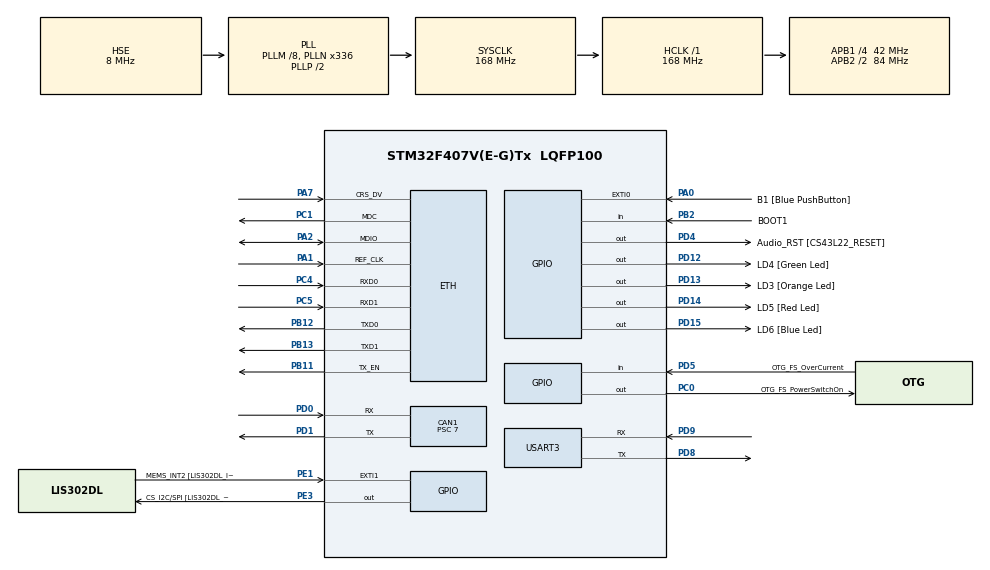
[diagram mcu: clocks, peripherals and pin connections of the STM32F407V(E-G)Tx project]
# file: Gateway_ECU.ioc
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CAN1.BS1=CAN_BS1_9TQ
CAN1.BS2=CAN_BS2_2TQ
CAN1.CalculateBaudRate=499999
CAN1.CalculateTimeBit=2000
CAN1.CalculateTimeQuantum=166.66666666666669
CAN1.Prescaler=7
ETH.MediaInterface=HAL_ETH_RMII_MODE
FREERTOS.Queues01=CAN_Data_Queue,10,uint16_t,0,Dynamic,NULL,NULL;Eth_Data_Queue,10,uint16_t,0,Dynamic,NULL,NULL
FREERTOS.Tasks01=Logic_Task,24,512,StartLogicTask,Default,NULL,Dynamic,NULL,NULL;Eth_Task,16,512,StartEthTask,Default,NULL,Dynamic,NULL,NULL
FREERTOS.configUSE_NEWLIB_REENTRANT=0
LWIP.BSP.number=1
LWIP.GATEWAY_ADDRESS=192.168.001.001
LWIP.IP_ADDRESS=192.168.001.050
LWIP.LWIP_DHCP=0
LWIP.MEMP_NUM_PBUF=20
LWIP.MEM_SIZE=10240
LWIP.NETMASK_ADDRESS=255.255.255.000
LWIP.Version=v2.1.2_Cube
LWIP0.BSP.STBoard=false
LWIP0.BSP.api=BSP_COMPONENT_DRIVER
LWIP0.BSP.component=LAN8742
LWIP0.BSP.instance=LAN8742
LWIP0.BSP.name=Driver_PHY
LWIP0.BSP.semaphore=S_LAN8742
LWIP0.BSP.solution=LAN8742
Mcu.Family=STM32F4
Mcu.Name=STM32F407V(E-G)Tx
Mcu.Package=LQFP100
NVIC.CAN1_RX0_IRQn=true\:5\:0\:false\:false\:true\:true\:true\:true\:true
NVIC.ETH_IRQn=true\:5\:0\:false\:false\:true\:true\:true\:true\:true
NVIC.PriorityGroup=NVIC_PRIORITYGROUP_4
NVIC.TIM5_IRQn=true\:15\:0\:false\:false\:true\:false\:false\:true\:true
NVIC.TimeBase=TIM5_IRQn
NVIC.TimeBaseIP=TIM5
PA0-WKUP.GPIO_Label=B1 [Blue PushButton]
PA0-WKUP.GPIO_ModeDefaultEXTI=GPIO_MODE_EVT_RISING
PA0-WKUP.GPIO_PuPd=GPIO_NOPULL
PA0-WKUP.Signal=GPXTI0
PA1.Mode=RMII
PA1.Signal=ETH_REF_CLK
PA13.GPIO_Label=SWDIO
PA13.Mode=Serial_Wire
PA13.Signal=SYS_JTMS-SWDIO
PA14.GPIO_Label=SWCLK
PA14.Mode=Serial_Wire
PA14.Signal=SYS_JTCK-SWCLK
PA2.Mode=RMII
PA2.Signal=ETH_MDIO
PA7.Mode=RMII
PA7.Signal=ETH_CRS_DV
PB11.Mode=RMII
PB11.Signal=ETH_TX_EN
PB12.Mode=RMII
PB12.Signal=ETH_TXD0
PB13.Mode=RMII
PB13.Signal=ETH_TXD1
PB2.GPIO_Label=BOOT1
PB2.GPIO_Mode=GPIO_MODE_INPUT
PB2.GPIO_PuPd=GPIO_NOPULL
PB2.Signal=GPIO_Input
PC0.GPIO_Label=OTG_FS_PowerSwitchOn
PC0.GPIO_PuPd=GPIO_NOPULL
PC0.GPIO_Speed=GPIO_SPEED_FREQ_LOW
PC0.PinState=GPIO_PIN_SET
PC0.Signal=GPIO_Output
PC1.Mode=RMII
PC1.Signal=ETH_MDC
PC14-OSC32_IN.GPIO_Label=PC14-OSC32_IN
PC14-OSC32_IN.Mode=LSE-External-Oscillator
PC14-OSC32_IN.Signal=RCC_OSC32_IN
PC15-OSC32_OUT.GPIO_Label=PC15-OSC32_OUT
PC15-OSC32_OUT.Mode=LSE-External-Oscillator
PC15-OSC32_OUT.Signal=RCC_OSC32_OUT
PC4.Mode=RMII
PC4.Signal=ETH_RXD0
PC5.Mode=RMII
PC5.Signal=ETH_RXD1
PD0.Mode=CAN_Activate
PD0.Signal=CAN1_RX
PD1.Mode=CAN_Activate
PD1.Signal=CAN1_TX
PD12.GPIO_Label=LD4 [Green Led]
PD12.GPIO_PuPd=GPIO_NOPULL
PD12.GPIO_Speed=GPIO_SPEED_FREQ_LOW
PD12.Signal=GPIO_Output
PD13.GPIO_Label=LD3 [Orange Led]
PD13.GPIO_PuPd=GPIO_NOPULL
PD13.GPIO_Speed=GPIO_SPEED_FREQ_LOW
PD13.Signal=GPIO_Output
PD14.GPIO_Label=LD5 [Red Led]
PD14.GPIO_PuPd=GPIO_NOPULL
PD14.GPIO_Speed=GPIO_SPEED_FREQ_LOW
PD14.Signal=GPIO_Output
PD15.GPIO_Label=LD6 [Blue Led]
PD15.GPIO_PuPd=GPIO_NOPULL
PD15.GPIO_Speed=GPIO_SPEED_FREQ_LOW
PD15.Signal=GPIO_Output
PD4.GPIO_Label=Audio_RST [CS43L22_RESET]
PD4.GPIO_PuPd=GPIO_NOPULL
PD4.GPIO_Speed=GPIO_SPEED_FREQ_LOW
PD4.Signal=GPIO_Output
PD5.GPIO_Label=OTG_FS_OverCurrent
PD5.GPIO_Mode=GPIO_MODE_INPUT
PD5.GPIO_PuPd=GPIO_NOPULL
PD5.Signal=GPIO_Input
PD8.Mode=Asynchronous
PD8.Signal=USART3_TX
PD9.Mode=Asynchronous
PD9.Signal=USART3_RX
PE1.GPIO_Label=MEMS_INT2 [LIS302DL_INT2]
PE1.GPIO_ModeDefaultEXTI=GPIO_MODE_EVT_RISING
PE1.GPIO_PuPd=GPIO_NOPULL
PE1.Signal=GPXTI1
PE3.GPIO_Label=CS_I2C/SPI [LIS302DL_CS_I2C/SPI]
PE3.GPIO_PuPd=GPIO_NOPULL
PE3.GPIO_Speed=GPIO_SPEED_FREQ_LOW
PE3.Signal=GPIO_Output
PH0-OSC_IN.GPIO_Label=PH0-OSC_IN
PH0-OSC_IN.Mode=HSE-External-Oscillator
PH0-OSC_IN.Signal=RCC_OSC_IN
PH1-OSC_OUT.GPIO_Label=PH1-OSC_OUT
PH1-OSC_OUT.Mode=HSE-External-Oscillator
PH1-OSC_OUT.Signal=RCC_OSC_OUT
ProjectManager.HeapSize=0x200
ProjectManager.StackSize=0x400
ProjectManager.TargetToolchain=MDK-ARM V5.32
RCC.48MHZClocksFreq_Value=48000000
RCC.AHBFreq_Value=168000000
RCC.APB1CLKDivider=RCC_HCLK_DIV4
RCC.APB1Freq_Value=42000000
RCC.APB1TimFreq_Value=84000000
RCC.APB2CLKDivider=RCC_HCLK_DIV2
RCC.APB2Freq_Value=84000000
RCC.APB2TimFreq_Value=168000000
RCC.CortexFreq_Value=168000000
RCC.HCLKFreq_Value=168000000
RCC.HSE_VALUE=8000000
RCC.HSI_VALUE=16000000
RCC.PLLM=8
RCC.PLLN=336
RCC.PLLQ=7
RCC.PLLSourceVirtual=RCC_PLLSOURCE_HSE
RCC.SYSCLKFreq_VALUE=168000000
RCC.SYSCLKSource=RCC_SYSCLKSOURCE_PLLCLK
RCC.VCOOutputFreq_Value=336000000
USART3.VirtualMode=VM_ASYNC
VP_FREERTOS_VS_CMSIS_V2.Mode=CMSIS_V2
VP_LWIP_VS_Enabled.Mode=Enabled
VP_SYS_VS_tim5.Mode=TIM5
board=STM32F407G-DISC1

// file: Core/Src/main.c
/* USER CODE BEGIN Header */
/**
  ******************************************************************************
  * @file           : main.c
  * @brief          : Main program body
  ******************************************************************************
  * @attention
  *
  * Copyright (c) 2026 STMicroelectronics.
  * All rights reserved.
  *
  * This software is licensed under terms that can be found in the LICENSE file
  * in the root directory of this software component.
  * If no LICENSE file comes with this software, it is provided AS-IS.
  *
  ******************************************************************************
  */
/* USER CODE END Header */
#include "main.h"
#include "cmsis_os.h"
#include "can.h"
#include "lwip.h"
#include "usart.h"
#include "gpio.h"

/* USER CODE BEGIN Includes */
#include <stdio.h>     /* Required for printf and sprintf */
#include <app_gateway.h>  /* Required for gateway routing functions */
/* USER CODE END Includes */

/* USER CODE BEGIN PD */
#define EVT_UDS_RX_BIT   0x00000001U

/* USER CODE END PD */

/* USER CODE BEGIN PM */
#ifdef __GNUC__
#define PUTCHAR_PROTOTYPE int __io_putchar(int ch)
#else
#define PUTCHAR_PROTOTYPE int fputc(int ch, FILE *f)
#endif /* __GNUC__ */
/* USER CODE END PM */

/* USER CODE BEGIN PV */
/* CAN Communication Buffers */
CAN_TxHeaderTypeDef TxHeader;               /**< CAN Tx header structure (To Node B) */
uint8_t             TxData[8];              /**< CAN Tx payload data array */
uint32_t            TxMailbox;              /**< CAN Tx mailbox identifier */

CAN_RxHeaderTypeDef RxHeader;               /**< CAN Rx header structure (From Node A & B) */
uint8_t             RxData[8];              /**< CAN Rx payload data array */

/* UDS Diagnostic Protocol Variables */
uint8_t             gateway_uds_level = 0;  /**< Extracted UDS response payload */

/* Timestamps for latency measurement */
volatile uint32_t   can_sensor_start_time = 0;
volatile uint32_t   can_uds_start_time = 0;

/* External Variables */
extern osMessageQueueId_t CAN_Data_QueueHandle;
extern osEventFlagsId_t   UdsEventFlagsHandle;

/* USER CODE END PV */

void SystemClock_Config(void);
void MX_FREERTOS_Init(void);

/* USER CODE BEGIN PFP */
/**
 * @brief  Retargets the C library printf function to the USART.
 * @param[in] ch Character to be transmitted
 * @return Transmitted character
 */
PUTCHAR_PROTOTYPE;

/* USER CODE END PFP */

int main(void)
{

  /* MCU Configuration--------------------------------------------------------*/

  /* Reset of all peripherals, Initializes the Flash interface and the Systick. */
  HAL_Init();

  /* Configure the system clock */
  SystemClock_Config();

  /* Initialize all configured peripherals */
  MX_GPIO_Init();
  MX_CAN1_Init();
  MX_USART3_UART_Init();
/* USER CODE BEGIN 2 */

  CAN_FilterTypeDef canfilterconfig;

  canfilterconfig.FilterBank = 0;
  canfilterconfig.FilterMode = CAN_FILTERMODE_IDLIST;
  canfilterconfig.FilterScale = CAN_FILTERSCALE_16BIT;

  /* Accept Node A (0x250) and Node B UDS Response (0x7E8) */
  canfilterconfig.FilterIdHigh = 0x250 << 5;
  canfilterconfig.FilterIdLow = 0x7E8 << 5;

  /* Duplicate IDs to safely fill all 16-bit register slots */
  canfilterconfig.FilterMaskIdHigh = 0x250 << 5;
  canfilterconfig.FilterMaskIdLow = 0x7E8 << 5;

  canfilterconfig.FilterFIFOAssignment = CAN_RX_FIFO0;
  canfilterconfig.FilterActivation = ENABLE;
  canfilterconfig.SlaveStartFilterBank = 14;

  if (HAL_CAN_ConfigFilter(&hcan1, &canfilterconfig) != HAL_OK)
  {
    Error_Handler();
  }

  if (HAL_CAN_Start(&hcan1) != HAL_OK)
  {
    Error_Handler();
  }

  if (HAL_CAN_ActivateNotification(&hcan1, CAN_IT_RX_FIFO0_MSG_PENDING) != HAL_OK)
  {
    Error_Handler();
  }

  /* Prepare default CAN TX Header */
  TxHeader.StdId = 0x450;
  TxHeader.RTR = CAN_RTR_DATA;
  TxHeader.IDE = CAN_ID_STD;
  TxHeader.DLC = 1;
  TxHeader.TransmitGlobalTime = DISABLE;

  /* USER CODE END 2 */

  /* Init scheduler */
  osKernelInitialize();  /* Call init function for freertos objects (in cmsis_os2.c) */
  MX_FREERTOS_Init();

  /* Start scheduler */
  osKernelStart();

  /* We should never get here as control is now taken by the scheduler */

  /* Infinite loop */
  while (1)
  {

  }
}

void SystemClock_Config(void)
{
  RCC_OscInitTypeDef RCC_OscInitStruct = {0};
  RCC_ClkInitTypeDef RCC_ClkInitStruct = {0};

  /** Configure the main internal regulator output voltage
  */
  __HAL_RCC_PWR_CLK_ENABLE();
  __HAL_PWR_VOLTAGESCALING_CONFIG(PWR_REGULATOR_VOLTAGE_SCALE1);

  /** Initializes the RCC Oscillators according to the specified parameters
  * in the RCC_OscInitTypeDef structure.
  */
  RCC_OscInitStruct.OscillatorType = RCC_OSCILLATORTYPE_HSE;
  RCC_OscInitStruct.HSEState = RCC_HSE_ON;
  RCC_OscInitStruct.PLL.PLLState = RCC_PLL_ON;
  RCC_OscInitStruct.PLL.PLLSource = RCC_PLLSOURCE_HSE;
  RCC_OscInitStruct.PLL.PLLM = 8;
  RCC_OscInitStruct.PLL.PLLN = 336;
  RCC_OscInitStruct.PLL.PLLP = RCC_PLLP_DIV2;
  RCC_OscInitStruct.PLL.PLLQ = 7;
  if (HAL_RCC_OscConfig(&RCC_OscInitStruct) != HAL_OK)
  {
    Error_Handler();
  }

  /** Initializes the CPU, AHB and APB buses clocks
  */
  RCC_ClkInitStruct.ClockType = RCC_CLOCKTYPE_HCLK|RCC_CLOCKTYPE_SYSCLK
                              |RCC_CLOCKTYPE_PCLK1|RCC_CLOCKTYPE_PCLK2;
  RCC_ClkInitStruct.SYSCLKSource = RCC_SYSCLKSOURCE_PLLCLK;
  RCC_ClkInitStruct.AHBCLKDivider = RCC_SYSCLK_DIV1;
  RCC_ClkInitStruct.APB1CLKDivider = RCC_HCLK_DIV4;
  RCC_ClkInitStruct.APB2CLKDivider = RCC_HCLK_DIV2;

  if (HAL_RCC_ClockConfig(&RCC_ClkInitStruct, FLASH_LATENCY_5) != HAL_OK)
  {
    Error_Handler();
  }
}

/* USER CODE BEGIN 4 */

/**
 * @brief  Retargets the C library printf function to the USART.
 *
 * @param[in]  ch  Character to be transmitted
 *
 * @return
 * - Transmitted character
 */
PUTCHAR_PROTOTYPE
{
  /* Timeout lowered to 10ms to prevent system hang */
  HAL_UART_Transmit(&huart3, (uint8_t *)&ch, 1, 10);
  return ch;
}

/**
 * @brief  CAN RX Callback - Triggered when a new message arrives in FIFO0.
 *
 * @param[in]  hcan  Pointer to a CAN_HandleTypeDef structure that contains
 * the configuration information for the specified CAN.
 *
 * @return None
 */
void HAL_CAN_RxFifo0MsgPendingCallback(CAN_HandleTypeDef *hcan)
{
  if (HAL_CAN_GetRxMessage(hcan, CAN_RX_FIFO0, &RxHeader, RxData) == HAL_OK)
  {
    /* Branch 1: Sensor Data from Node A */
    if (RxHeader.StdId == CAN_ID_NODE_A_RX)
    {
      /* Capture timestamp for latency measurement */
      can_sensor_start_time = DWT_GET();

      /* Extract distance value from CAN payload (2 bytes) */
      uint16_t dist_val = (uint16_t)((RxData[0] << 8) | RxData[1]);

      /* Push raw distance into the queue. Timeout is 0 because this is inside ISR */
      osMessageQueuePut(CAN_Data_QueueHandle, &dist_val, 0, 0);
    }
    /* Branch 2: UDS Response from Node B */
    else if (RxHeader.StdId == CAN_ID_NODE_B_UDS_RX)
    {
      /* Capture timestamp for latency measurement */
      can_uds_start_time = DWT_GET();

      /* Extract UDS response level from CAN payload (1 byte) */
      osEventFlagsSet(UdsEventFlagsHandle, EVT_UDS_RX_BIT);
      gateway_uds_level = RxData[1];
    }
  }
}

/* USER CODE END 4 */

void HAL_TIM_PeriodElapsedCallback(TIM_HandleTypeDef *htim)
{
  if (htim->Instance == TIM5)
  {
    HAL_IncTick();
  }
}

void Error_Handler(void)
{
  __disable_irq();
  while (1)
  {
  }
}

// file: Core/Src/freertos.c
/* USER CODE BEGIN Header */
/**
  ******************************************************************************
  * File Name          : freertos.c
  * Description        : Code for freertos applications
  ******************************************************************************
  * @attention
  *
  * Copyright (c) 2026 STMicroelectronics.
  * All rights reserved.
  *
  * This software is licensed under terms that can be found in the LICENSE file
  * in the root directory of this software component.
  * If no LICENSE file comes with this software, it is provided AS-IS.
  *
  ******************************************************************************
  */
/* USER CODE END Header */

#include "FreeRTOS.h"
#include "task.h"
#include "main.h"
#include "cmsis_os.h"

/* USER CODE BEGIN Includes */
#include <stdio.h>        /* Required for printf */
#include <string.h>       /* Required for strlen */
#include "can.h"          /* Required for CAN handles and structures */
#include "lwip.h"         /* Required for LwIP definitions */
#include "app_gateway.h"  /* Required for gateway routing functions */

/* USER CODE END Includes */

/* USER CODE BEGIN PD */
#define EVT_UDS_RX_BIT   0x00000001U

/* USER CODE END PD */

/* USER CODE BEGIN Variables */
/* Definitions for UDS Event Flag */
osEventFlagsId_t UdsEventFlagsHandle;
const osEventFlagsAttr_t UdsEventFlags_attributes = {
  .name = "UdsEventFlags"
};

/* USER CODE END Variables */
/* Definitions for Logic_Task */
osThreadId_t Logic_TaskHandle;
const osThreadAttr_t Logic_Task_attributes = {
  .name = "Logic_Task",
  .stack_size = 512 * 4,
  .priority = (osPriority_t) osPriorityNormal,
};
/* Definitions for Eth_Task */
osThreadId_t Eth_TaskHandle;
const osThreadAttr_t Eth_Task_attributes = {
  .name = "Eth_Task",
  .stack_size = 512 * 4,
  .priority = (osPriority_t) osPriorityBelowNormal,
};
/* Definitions for CAN_Data_Queue */
osMessageQueueId_t CAN_Data_QueueHandle;
const osMessageQueueAttr_t CAN_Data_Queue_attributes = {
  .name = "CAN_Data_Queue"
};
/* Definitions for Eth_Data_Queue */
osMessageQueueId_t Eth_Data_QueueHandle;
const osMessageQueueAttr_t Eth_Data_Queue_attributes = {
  .name = "Eth_Data_Queue"
};

void StartLogicTask(void *argument);
void StartEthTask(void *argument);

extern void MX_LWIP_Init(void);
void MX_FREERTOS_Init(void); /* (MISRA C 2004 rule 8.1) */

void MX_FREERTOS_Init(void) {

  /* Create the queue(s) */
  /* creation of CAN_Data_Queue */
  CAN_Data_QueueHandle = osMessageQueueNew (10, sizeof(uint16_t), &CAN_Data_Queue_attributes);

  /* creation of Eth_Data_Queue */
  Eth_Data_QueueHandle = osMessageQueueNew (10, sizeof(uint16_t), &Eth_Data_Queue_attributes);

  /* Create the thread(s) */
  /* creation of Logic_Task */
  Logic_TaskHandle = osThreadNew(StartLogicTask, NULL, &Logic_Task_attributes);

  /* creation of Eth_Task */
  Eth_TaskHandle = osThreadNew(StartEthTask, NULL, &Eth_Task_attributes);

  /* USER CODE BEGIN RTOS_EVENTS */
  /* Create event flags for UDS handling */
  UdsEventFlagsHandle = osEventFlagsNew(&UdsEventFlags_attributes);
  /* USER CODE END RTOS_EVENTS */

}

void StartLogicTask(void *argument)
{
  /* init code for LWIP */
  MX_LWIP_Init();
  /* USER CODE BEGIN StartLogicTask */

  /* Initialize UDP Receiver AFTER LwIP core has fully started */
  Gateway_UDP_Receiver_Init();

  /* Enable DWT for cycle counting to measure CAN message latency */
  DWT_ENABLE();

  /* Infinite loop */
  for(;;)
  {
    App_Gateway_Logic_Task_Run();  /* Core logic for CAN to Ethernet routing and UDS handling */
  }
  /* USER CODE END StartLogicTask */
}

void StartEthTask(void *argument)
{
  /* USER CODE BEGIN StartEthTask */

  /* Infinite loop */
  for(;;)
  {
    App_Gateway_Eth_Task_Run();  /* Core logic for Ethernet transmission and manual mode timeout */
  }
  /* USER CODE END StartEthTask */
}
